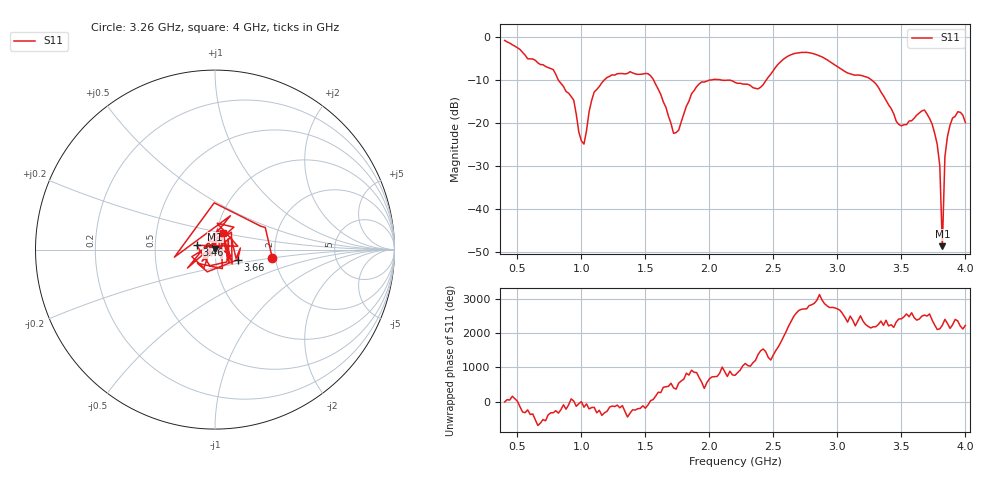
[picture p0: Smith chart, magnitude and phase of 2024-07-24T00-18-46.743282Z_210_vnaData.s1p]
!Created with skrf (http://scikit-rf.org).
# Hz S RI R 50.0
!freq ReS11 ImS11
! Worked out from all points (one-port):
!   181 points, 400 MHz to 4 GHz, reference 50 ohm
!   lowest |S11| = -48.6 dB at 3.82 GHz (marker M1), VSWR 1.01, Z = 50.1 + j0.347 ohm
!   |S11| at or under -10 dB: 819.4 MHz to 1.178 GHz (358.9 MHz wide, 35.9 % of centre); 1.564 GHz to 2.003 GHz (439.3 MHz wide, 24.6 % of centre); 3.268 GHz to end of sweep (the widest 3 of 4)
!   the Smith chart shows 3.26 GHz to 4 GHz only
!   S11 on the Smith chart (normalised r, x): 3.26 GHz: 1.92, -0.20; 3.46 GHz: 0.81, +0.04; 3.66 GHz: 1.28, -0.15; 4 GHz: 1.07, +0.20
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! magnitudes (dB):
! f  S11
! 400 MHz  -0.8
! 780 MHz  -7.6
! 860 MHz  -11.5
! 940 MHz  -14.7
! 980 MHz  -22.1
! 1.02 GHz  -24.9
! 1.1 GHz  -12.8
! 1.3 GHz  -8.5
! 1.54 GHz  -9.0
! 1.72 GHz  -22.4
! 1.76 GHz  -21.7
! 1.92 GHz  -10.9
! 2.2 GHz  -10.5
! 2.38 GHz  -12.0
! 2.66 GHz  -3.9
! 3.1 GHz  -8.5
! 3.26 GHz  -9.8
! 3.46 GHz  -19.6
! 3.56 GHz  -19.5
! 3.66 GHz  -17.2
! 3.72 GHz  -18.9
! 3.78 GHz  -25.0
! 3.8 GHz  -29.9
! 3.82 GHz  -48.6
! 3.84 GHz  -27.8
! 3.86 GHz  -23.1
! 3.94 GHz  -17.4
! 4 GHz  -19.9
